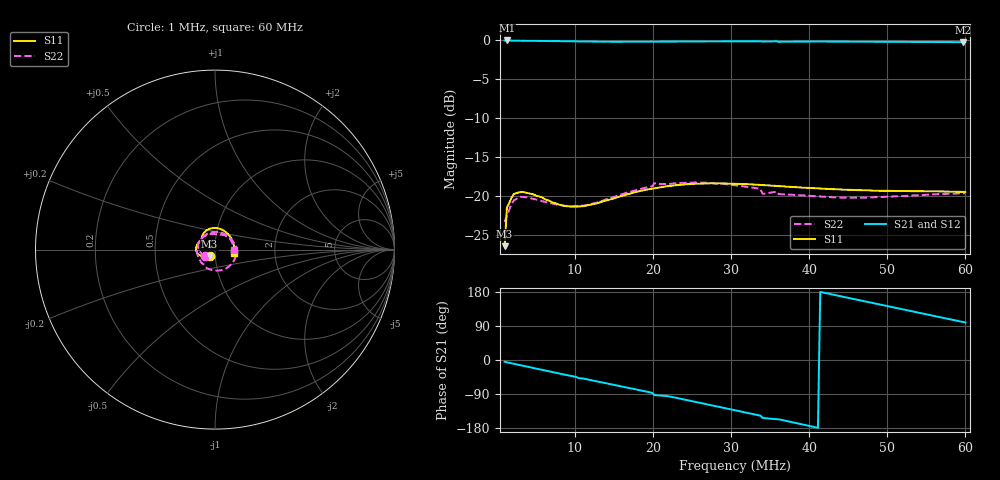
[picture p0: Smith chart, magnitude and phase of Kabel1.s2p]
#  HZ  S  DB  R  50.00
! Rohde & Schwarz ZVT8 8Ports - Version 4.11 - 1300.0000k08 SN: 100242
! Date: 2024-03-13 12:49:16
! Measurements: S11 S21 S12 S22
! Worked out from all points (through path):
!   201 points, 1 MHz to 60 MHz, reference 50 ohm
!   highest |S21| = -0.10 dB at 1.295 MHz (marker M1); lowest = -0.3 dB at 59.7 MHz (marker M2)
!   group delay of S21, straight-line fit = 12 ns
!   lowest |S11| = -26.4 dB at 1 MHz (marker M3), VSWR 1.10, Z = 46.9 - j3.49 ohm
!   |S11| at or under -10 dB: start of sweep to end of sweep
!   |S22| runs from -23.3 to -18.3 dB; largest |S21 - S12| = 0.03
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1000000  -26.39 -129.3  -0.12 -4.7  0.03 -5.0  -23.31 -146.2
1295000  -21.46 -152.7  -0.10 -6.1  0.02 -6.4  -22.55 -159.1
1885000  -20.21 -165.6  -0.12 -8.7  0.00 -9.0  -20.95 -175.3
3065000  -19.48 177.0  -0.14 -14.0  -0.03 -14.3  -20.07 158.8
6605000  -20.52 151.9  -0.17 -29.6  -0.08 -29.8  -20.83 111.8
1.103e7  -21.28 145.5  -0.23 -48.8  -0.15 -49.0  -21.21 77.1
1.6045e7  -19.97 136.1  -0.27 -70.2  -0.20 -70.3  -19.76 40.3
1.988e7  -19.05 123.5  -0.26 -86.6  -0.19 -86.7  -18.75 7.9
2.0175e7  -19.01 122.5  -0.27 -92.4  -0.18 -90.8  -18.35 7.7
2.0765e7  -18.89 120.4  -0.26 -93.4  -0.18 -92.4  -18.42 1.9
2.1945e7  -18.72 116.1  -0.26 -95.5  -0.18 -95.6  -18.45 -10.1
2.5485e7  -18.40 102.8  -0.23 -110.8  -0.15 -110.8  -18.25 -42.0
3.05e7  -18.42 84.1  -0.21 -132.6  -0.12 -132.6  -18.61 -87.8
3.3745e7  -18.55 72.2  -0.21 -146.9  -0.11 -146.9  -19.05 -118.1
3.404e7  -18.59 71.1  -0.25 -152.9  -0.16 -152.4  -19.71 -125.0
3.6105e7  -18.72 63.6  -0.29 -156.5  -0.20 -156.4  -19.74 -140.7
4.053e7  -18.98 48.2  -0.24 -176.3  -0.16 -176.4  -19.99 176.3
4.525e7  -19.19 32.3  -0.26 162.9  -0.17 162.8  -20.20 130.9
5.0265e7  -19.31 16.8  -0.29 141.3  -0.21 141.2  -20.06 84.2
5.528e7  -19.37 2.4  -0.31 119.3  -0.23 119.3  -19.80 39.5
5.9705e7  -19.45 -9.7  -0.32 100.2  -0.24 100.2  -19.65 2.3
6e7  -19.46 -10.5  -0.31 99.0  -0.24 98.9  -19.65 -0.1
